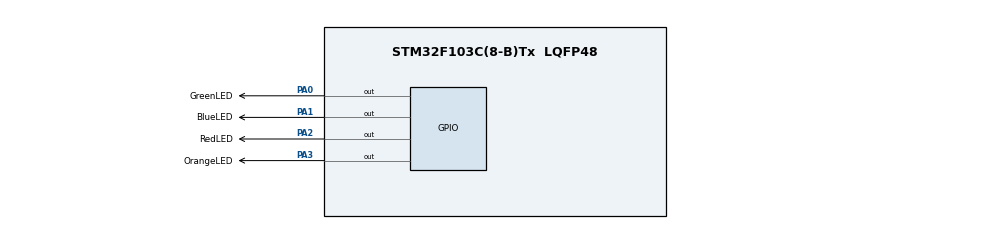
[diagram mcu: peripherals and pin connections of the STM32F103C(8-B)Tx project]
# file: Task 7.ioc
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FREERTOS.BinarySemaphores01=CriticalResourceSemaphore,Dynamic,NULL
FREERTOS.Tasks01=defaultTask,0,128,StartDefaultTask,Default,NULL,Dynamic,NULL,NULL;GreendLedFlash,0,128,GreenLedTask,Default,NULL,Dynamic,NULL,NULL;RedLedFlash,0,128,RedLedTask,Default,NULL,Dynamic,NULL,NULL;OrangeLedFlash,1,128,OrangeLedTask,Default,NULL,Dynamic,NULL,NULL
FREERTOS.configUSE_NEWLIB_REENTRANT=1
Mcu.Family=STM32F1
Mcu.Name=STM32F103C(8-B)Tx
Mcu.Package=LQFP48
NVIC.PriorityGroup=NVIC_PRIORITYGROUP_4
NVIC.TIM4_IRQn=true\:15\:0\:false\:false\:true\:false\:false\:true\:true
NVIC.TimeBase=TIM4_IRQn
NVIC.TimeBaseIP=TIM4
PA0-WKUP.GPIO_Label=GreenLED
PA0-WKUP.Signal=GPIO_Output
PA1.GPIO_Label=BlueLED
PA1.Signal=GPIO_Output
PA13.Mode=Serial_Wire
PA13.Signal=SYS_JTMS-SWDIO
PA14.Mode=Serial_Wire
PA14.Signal=SYS_JTCK-SWCLK
PA2.GPIO_Label=RedLED
PA2.Signal=GPIO_Output
PA3.GPIO_Label=OrangeLED
PA3.Signal=GPIO_Output
ProjectManager.HeapSize=0x200
ProjectManager.StackSize=0x400
ProjectManager.TargetToolchain=STM32CubeIDE
RCC.APB1Freq_Value=8000000
RCC.APB2Freq_Value=8000000
VP_FREERTOS_VS_CMSIS_V1.Mode=CMSIS_V1
VP_SYS_VS_tim4.Mode=TIM4
board=custom

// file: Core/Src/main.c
/* USER CODE BEGIN Header */
/**
  ******************************************************************************
  * @file           : main.c
  * @brief          : Main program body
  ******************************************************************************
  * @attention
  *
  * Copyright (c) 2024 STMicroelectronics.
  * All rights reserved.
  *
  * This software is licensed under terms that can be found in the LICENSE file
  * in the root directory of this software component.
  * If no LICENSE file comes with this software, it is provided AS-IS.
  *
  ******************************************************************************
  */
/* USER CODE END Header */
#include "main.h"
#include "cmsis_os.h"

/* USER CODE BEGIN Includes */
#include <stdio.h>
/* USER CODE END Includes */

osThreadId defaultTaskHandle;
osThreadId GreendLedFlashHandle;
osThreadId RedLedFlashHandle;
osThreadId OrangeLedFlashHandle;
osSemaphoreId CriticalResourceSemaphoreHandle;
/* USER CODE BEGIN PV */
volatile uint8_t startFlag = 1;
volatile uint16_t WaitTimeMilliseconds = 900;
/* USER CODE END PV */

void SystemClock_Config(void);
static void MX_GPIO_Init(void);
void StartDefaultTask(void const * argument);
void GreenLedTask(void const * argument);
void RedLedTask(void const * argument);
void OrangeLedTask(void const * argument);

int main(void)
{

  /* MCU Configuration--------------------------------------------------------*/

  /* Reset of all peripherals, Initializes the Flash interface and the Systick. */
  HAL_Init();

  /* Configure the system clock */
  SystemClock_Config();

  /* Initialize all configured peripherals */
  MX_GPIO_Init();

  /* Create the semaphores(s) */
  /* definition and creation of CriticalResourceSemaphore */
  osSemaphoreDef(CriticalResourceSemaphore);
  CriticalResourceSemaphoreHandle = osSemaphoreCreate(osSemaphore(CriticalResourceSemaphore), 1);

  /* Create the thread(s) */
  /* definition and creation of defaultTask */
  osThreadDef(defaultTask, StartDefaultTask, osPriorityNormal, 0, 128);
  defaultTaskHandle = osThreadCreate(osThread(defaultTask), NULL);

  /* definition and creation of GreendLedFlash */
  osThreadDef(GreendLedFlash, GreenLedTask, osPriorityNormal, 0, 128);
  GreendLedFlashHandle = osThreadCreate(osThread(GreendLedFlash), NULL);

  /* definition and creation of RedLedFlash */
  osThreadDef(RedLedFlash, RedLedTask, osPriorityNormal, 0, 128);
  RedLedFlashHandle = osThreadCreate(osThread(RedLedFlash), NULL);

  /* definition and creation of OrangeLedFlash */
  osThreadDef(OrangeLedFlash, OrangeLedTask, osPriorityAboveNormal, 0, 128);
  OrangeLedFlashHandle = osThreadCreate(osThread(OrangeLedFlash), NULL);

  /* Start scheduler */
  osKernelStart();

  /* We should never get here as control is now taken by the scheduler */

  /* Infinite loop */
  while (1)
  {

  }
}

void SystemClock_Config(void)
{
  RCC_OscInitTypeDef RCC_OscInitStruct = {0};
  RCC_ClkInitTypeDef RCC_ClkInitStruct = {0};

  /** Initializes the RCC Oscillators according to the specified parameters
  * in the RCC_OscInitTypeDef structure.
  */
  RCC_OscInitStruct.OscillatorType = RCC_OSCILLATORTYPE_HSI;
  RCC_OscInitStruct.HSIState = RCC_HSI_ON;
  RCC_OscInitStruct.HSICalibrationValue = RCC_HSICALIBRATION_DEFAULT;
  RCC_OscInitStruct.PLL.PLLState = RCC_PLL_NONE;
  if (HAL_RCC_OscConfig(&RCC_OscInitStruct) != HAL_OK)
  {
    Error_Handler();
  }

  /** Initializes the CPU, AHB and APB buses clocks
  */
  RCC_ClkInitStruct.ClockType = RCC_CLOCKTYPE_HCLK|RCC_CLOCKTYPE_SYSCLK
                              |RCC_CLOCKTYPE_PCLK1|RCC_CLOCKTYPE_PCLK2;
  RCC_ClkInitStruct.SYSCLKSource = RCC_SYSCLKSOURCE_HSI;
  RCC_ClkInitStruct.AHBCLKDivider = RCC_SYSCLK_DIV1;
  RCC_ClkInitStruct.APB1CLKDivider = RCC_HCLK_DIV1;
  RCC_ClkInitStruct.APB2CLKDivider = RCC_HCLK_DIV1;

  if (HAL_RCC_ClockConfig(&RCC_ClkInitStruct, FLASH_LATENCY_0) != HAL_OK)
  {
    Error_Handler();
  }
}

static void MX_GPIO_Init(void)
{
  GPIO_InitTypeDef GPIO_InitStruct = {0};

  /* GPIO Ports Clock Enable */
  __HAL_RCC_GPIOA_CLK_ENABLE();

  /*Configure GPIO pin Output Level */
  HAL_GPIO_WritePin(GPIOA, GreenLED_Pin|BlueLED_Pin|RedLED_Pin|OrangeLED_Pin, GPIO_PIN_RESET);

  /*Configure GPIO pins : GreenLED_Pin BlueLED_Pin RedLED_Pin OrangeLED_Pin */
  GPIO_InitStruct.Pin = GreenLED_Pin|BlueLED_Pin|RedLED_Pin|OrangeLED_Pin;
  GPIO_InitStruct.Mode = GPIO_MODE_OUTPUT_PP;
  GPIO_InitStruct.Pull = GPIO_NOPULL;
  GPIO_InitStruct.Speed = GPIO_SPEED_FREQ_LOW;
  HAL_GPIO_Init(GPIOA, &GPIO_InitStruct);

}

/* USER CODE BEGIN 4 */
void accessSharedData(void)
{
  if (startFlag == 1)
  {
    startFlag = 0;
  }
  else
  {
    HAL_GPIO_WritePin(GPIOA, GPIO_PIN_1, GPIO_PIN_SET);
  }
  HAL_Delay(1000);
  startFlag = 1;
  HAL_GPIO_WritePin(GPIOA, GPIO_PIN_1, GPIO_PIN_RESET);
}

/* USER CODE END 4 */

void StartDefaultTask(void const * argument)
{
  for(;;)
  {
    osDelay(1);
  }
}

void GreenLedTask(void const * argument)
{
  /* USER CODE BEGIN GreenLedTask */
  /* Infinite loop */
	for(;;)
			  {
			    HAL_GPIO_WritePin(GPIOA, GPIO_PIN_0, GPIO_PIN_SET);
			    osSemaphoreWait(CriticalResourceSemaphoreHandle,WaitTimeMilliseconds);
			    accessSharedData();

			    osSemaphoreRelease(CriticalResourceSemaphoreHandle);
			    osDelay(200);
			    HAL_GPIO_WritePin(GPIOA, GPIO_PIN_0, GPIO_PIN_RESET);

			    osDelay(200);
			  }
  /* USER CODE END GreenLedTask */
}

void RedLedTask(void const * argument)
{
  /* USER CODE BEGIN RedLedTask */
  /* Infinite loop */
	for(;;)
			    {
			        HAL_GPIO_WritePin(GPIOA, GPIO_PIN_2, GPIO_PIN_SET);
			        osSemaphoreWait(CriticalResourceSemaphoreHandle,WaitTimeMilliseconds);
			        accessSharedData();

			        osSemaphoreRelease	(CriticalResourceSemaphoreHandle);
			        osDelay(550);
			        HAL_GPIO_WritePin(GPIOA, GPIO_PIN_2, GPIO_PIN_RESET);
			        osDelay(550);
			    }
  /* USER CODE END RedLedTask */
}

void OrangeLedTask(void const * argument)
{
  /* USER CODE BEGIN OrangeLedTask */
  /* Infinite loop */
	for(;;)
		  {
		    HAL_GPIO_TogglePin(GPIOA, GPIO_PIN_3);
		    osDelay(50);
		  }
  /* USER CODE END OrangeLedTask */
}

void HAL_TIM_PeriodElapsedCallback(TIM_HandleTypeDef *htim)
{
  if (htim->Instance == TIM4) {
    HAL_IncTick();
  }
}

void Error_Handler(void)
{
  __disable_irq();
  while (1)
  {
  }
}
